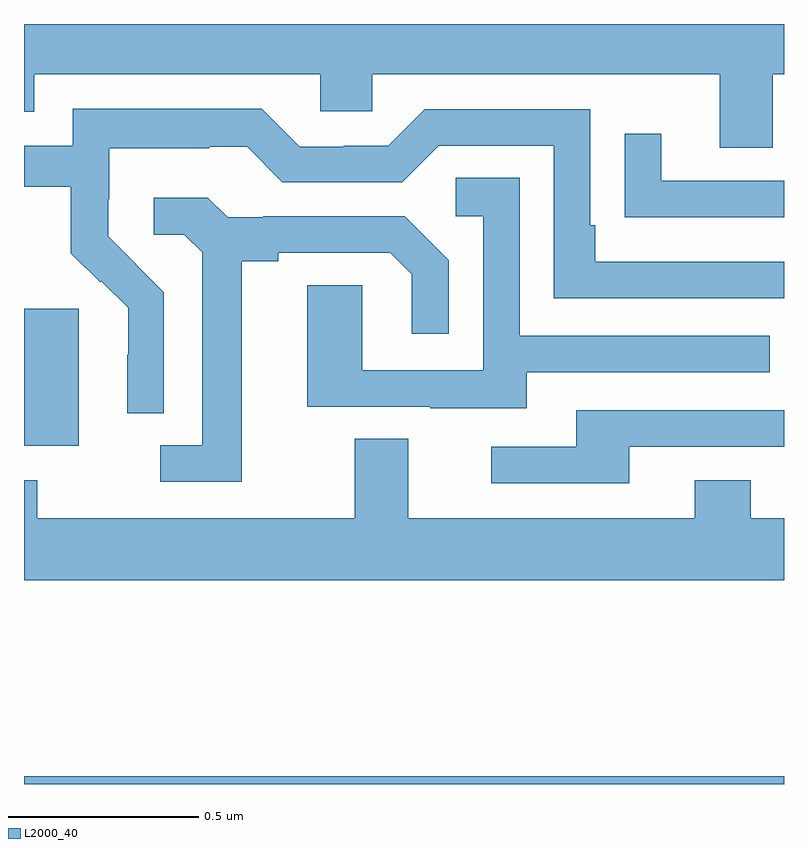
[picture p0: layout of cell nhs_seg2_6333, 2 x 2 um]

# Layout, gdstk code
import gdstk
lib = gdstk.Library(unit=1e-6, precision=1e-09)
def R(c, l, rs):  # rectangles x0, y0, x1, y1
    for r in rs: c.add(gdstk.rectangle(r[:2], r[2:], *l))
def P(c, l, *ps):  # polygons
    for p in ps: c.add(gdstk.Polygon(p, *l))
L2000_40 = (2000, 40)

nhs_seg2_6333 = lib.new_cell('nhs_seg2_6333')
R(nhs_seg2_6333, L2000_40, [(190,613.8,192,613.82), (190,614.69,190.144,615.051)])
P(nhs_seg2_6333, L2000_40, [(191.971,615.668),(192,615.668),(192,615.8),(190,615.8),(190,615.569),(190.027,615.569),(190.027,615.668),(190.779,615.668),(190.779,615.57),(190.917,615.57),(190.917,615.668),(191.831,615.668),(191.831,615.474),(191.971,615.474)],
  [(190.368,615.094),(190.295,615.167),(190.296,615.168),(190.222,615.242),(190.222,615.339),(190.224,615.339),(190.224,615.473),(190.487,615.473),(190.487,615.477),(190.587,615.477),(190.68,615.384),(190.995,615.384),(191.091,615.48),(191.394,615.48),(191.394,615.078),(192,615.078),(192,615.174),(191.503,615.174),(191.503,615.271),(191.49,615.271),(191.49,615.576),(191.055,615.576),(190.959,615.48),(190.841,615.48),(190.841,615.477),(190.725,615.477),(190.625,615.577),(190.128,615.577),(190.128,615.48),(190,615.48),(190,615.372),(190.123,615.372),(190.123,615.197),(190.2,615.12),(190.203,615.123),(190.274,615.053),(190.274,614.93),(190.272,614.93),(190.272,614.776),(190.368,614.776)],
  [(192,615.387),(191.677,615.387),(191.677,615.511),(191.581,615.511),(191.581,615.292),(191.683,615.292),(191.683,615.291),(192,615.291)],
  [(191.323,614.883),(191.963,614.883),(191.963,614.979),(191.304,614.979),(191.304,615.395),(191.136,615.395),(191.136,615.294),(191.208,615.294),(191.208,614.889),(190.89,614.889),(190.89,615.113),(190.745,615.113),(190.745,614.793),(191.069,614.793),(191.069,614.789),(191.323,614.789)],
  [(190.573,615.176),(190.669,615.176),(190.669,615.198),(190.964,615.198),(191.021,615.141),(191.021,614.985),(191.118,614.985),(191.118,615.178),(191.002,615.294),(190.63,615.294),(190.63,615.291),(190.536,615.291),(190.484,615.343),(190.341,615.343),(190.341,615.246),(190.422,615.246),(190.469,615.199),(190.469,614.691),(190.359,614.691),(190.359,614.595),(190.573,614.595)],
  [(191.593,614.688),(192,614.688),(192,614.784),(191.453,614.784),(191.453,614.688),(191.229,614.688),(191.229,614.592),(191.593,614.592)],
  [(192,614.5),(191.913,614.5),(191.913,614.599),(191.765,614.599),(191.765,614.5),(191.011,614.5),(191.011,614.708),(190.871,614.708),(190.871,614.5),(190.035,614.5),(190.035,614.599),(190,614.599),(190,614.336),(192,614.336)])

lib.write_gds('nhs_seg2_6333.gds')
